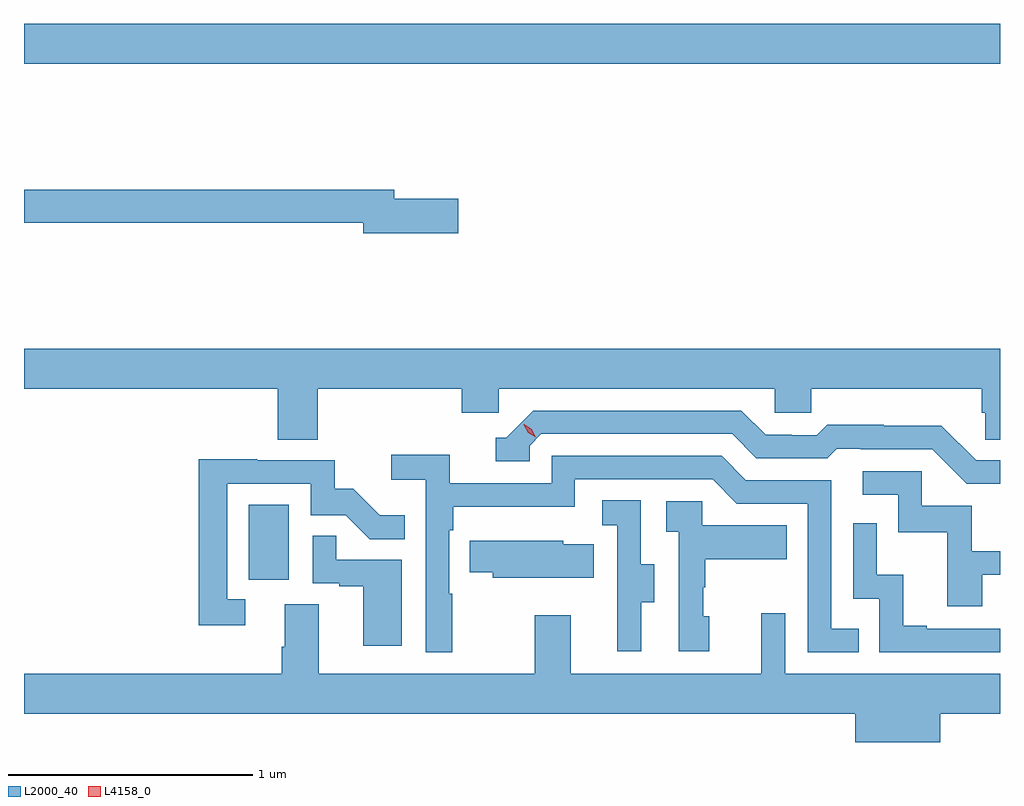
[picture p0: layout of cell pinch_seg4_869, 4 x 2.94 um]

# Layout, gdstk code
import gdstk
lib = gdstk.Library(unit=1e-6, precision=1e-09)
def R(c, l, rs):  # rectangles x0, y0, x1, y1
    for r in rs: c.add(gdstk.rectangle(r[:2], r[2:], *l))
def P(c, l, *ps):  # polygons
    for p in ps: c.add(gdstk.Polygon(p, *l))
L2000_40 = (2000, 40)
L4158_0 = (4158, 0)

pinch_seg4_869 = lib.new_cell('pinch_seg4_869')
R(pinch_seg4_869, L2000_40, [(831.098,793.374,831.262,793.681), (830.176,795.488,834.176,795.652)])
P(pinch_seg4_869, L2000_40, [(831.955,794.936),(831.694,794.936),(831.694,794.972),(830.176,794.972),(830.176,794.836),(831.566,794.836),(831.566,794.794),(831.955,794.794)],
  [(831.38,794.156),(831.971,794.156),(831.971,794.058),(832.122,794.058),(832.122,794.156),(833.253,794.156),(833.253,794.058),(833.403,794.058),(833.403,794.156),(834.101,794.156),(834.101,794.058),(834.115,794.058),(834.115,793.948),(834.176,793.948),(834.176,794.32),(830.176,794.32),(830.176,794.156),(831.215,794.156),(831.215,793.948),(831.38,793.948)],
  [(834.176,793.863),(834.078,793.863),(833.936,794.005),(833.7,794.005),(833.7,794.008),(833.467,794.008),(833.425,793.965),(833.322,793.965),(833.322,793.968),(833.215,793.968),(833.116,794.067),(832.263,794.067),(832.152,793.956),(832.109,793.956),(832.109,793.86),(832.248,793.86),(832.248,793.923),(832.296,793.971),(833.079,793.971),(833.178,793.872),(833.467,793.872),(833.506,793.911),(833.605,793.911),(833.605,793.908),(833.898,793.908),(834.039,793.767),(834.176,793.767)],
  [(831.931,793.316),(831.918,793.316),(831.918,793.577),(831.935,793.577),(831.935,793.673),(832.434,793.673),(832.434,793.785),(832.998,793.785),(833.097,793.686),(833.388,793.686),(833.388,793.077),(833.597,793.077),(833.597,793.173),(833.484,793.173),(833.484,793.782),(833.134,793.782),(833.035,793.881),(832.338,793.881),(832.338,793.77),(831.92,793.77),(831.92,793.886),(831.681,793.886),(831.681,793.784),(831.822,793.784),(831.822,793.077),(831.931,793.077)],
  [(831.082,793.293),(831.009,793.293),(831.009,793.767),(831.351,793.767),(831.351,793.638),(831.495,793.638),(831.593,793.54),(831.737,793.54),(831.737,793.639),(831.633,793.639),(831.526,793.746),(831.45,793.746),(831.45,793.863),(831.131,793.863),(831.131,793.868),(830.893,793.868),(830.893,793.188),(831.082,793.188)],
  [(834.103,793.395),(834.176,793.395),(834.176,793.491),(834.061,793.491),(834.061,793.677),(833.856,793.677),(833.856,793.818),(833.613,793.818),(833.613,793.722),(833.76,793.722),(833.76,793.569),(833.959,793.569),(833.959,793.266),(834.103,793.266)],
  [(832.705,793.282),(832.759,793.282),(832.759,793.437),(832.704,793.437),(832.704,793.7),(832.545,793.7),(832.545,793.597),(832.608,793.597),(832.608,793.293),(832.607,793.293),(832.607,793.08),(832.705,793.08)],
  [(832.984,793.224),(832.959,793.224),(832.959,793.343),(832.969,793.343),(832.969,793.457),(833.303,793.457),(833.303,793.597),(832.956,793.597),(832.956,793.695),(832.809,793.695),(832.809,793.571),(832.86,793.571),(832.86,793.08),(832.984,793.08)],
  [(834.176,793.173),(833.875,793.173),(833.875,793.186),(833.78,793.186),(833.78,793.394),(833.67,793.394),(833.67,793.606),(833.574,793.606),(833.574,793.296),(833.682,793.296),(833.682,793.077),(834.176,793.077)],
  [(831.724,793.455),(831.455,793.455),(831.455,793.553),(831.36,793.553),(831.36,793.359),(831.467,793.359),(831.467,793.347),(831.566,793.347),(831.566,793.104),(831.724,793.104)],
  [(832.511,793.519),(832.386,793.519),(832.386,793.534),(832.114,793.534),(832.114,793.533),(832.003,793.533),(832.003,793.405),(832.097,793.405),(832.097,793.382),(832.511,793.382)],
  [(833.932,792.824),(834.176,792.824),(834.176,792.988),(833.295,792.988),(833.295,793.237),(833.198,793.237),(833.198,792.988),(832.417,792.988),(832.417,793.228),(832.27,793.228),(832.27,792.988),(831.385,792.988),(831.385,793.274),(831.245,793.274),(831.245,793.1),(831.233,793.1),(831.233,792.988),(830.176,792.988),(830.176,792.824),(833.582,792.824),(833.582,792.708),(833.932,792.708)])
P(pinch_seg4_869, L4158_0, [(832.273,793.958),(832.242,793.977),(832.225,794.009),(832.225,794.01),(832.226,794.01),(832.257,793.99),(832.273,793.958),(832.273,793.958)])

lib.write_gds('pinch_seg4_869.gds')
